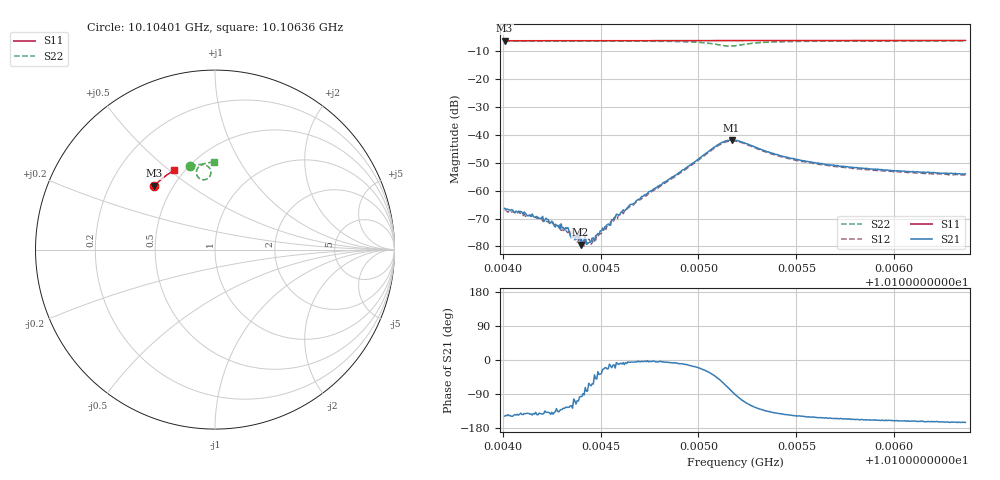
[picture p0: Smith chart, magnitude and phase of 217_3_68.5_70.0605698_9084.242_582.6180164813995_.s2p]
#  HZ  S  RI  R  50.00
! Rohde & Schwarz Vector Network Analyzer
! Rohde-Schwarz,ZNB20-2Port,1311601062101988,3.16
! Created: UTC 3/20/2024, 5:13:24 PM
! freq[Hz]  re:S11  im:S11  re:S21  im:S21  re:S12  im:S12  re:S22  im:S22
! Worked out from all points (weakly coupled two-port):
!   401 points, 10.10401 GHz to 10.10636 GHz, reference 50 ohm
!   highest |S21| = -41.79 dB at 10.10517 GHz (marker M1); lowest = -79.4 dB at 10.1044 GHz (marker M2)
!   lowest |S11| = -6.2 dB at 10.10401 GHz (marker M3), VSWR 2.93, Z = 19.8 + j18.5 ohm
!   |S11| at or under -10 dB: nowhere
!   |S22| runs from -8.1 to -6.2 dB; largest |S21 - S12| = 0.00085
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1.010401e10  -0.3385 0.3553  -0.000411 -0.000254  -0.000355 -0.000275  -0.1371 0.4631
1.0104139e10  -0.3329 0.3609  -0.000295 -0.000223  -0.000265 -0.000239  -0.1284 0.4661
1.0104228e10  -0.3293 0.3648  -0.000227 -0.000205  -0.000214 -0.000177  -0.122 0.4678
1.0104281e10  -0.3269 0.3671  -0.000169 -0.000166  -0.000161 -0.000181  -0.1181 0.4687
1.0104322e10  -0.3252 0.3687  -0.000123 -0.00018  -0.000106 -0.000167  -0.115 0.4696
1.0104357e10  -0.3235 0.3703  -8.85e-05 -0.000117  -8.68e-05 -0.00017  -0.1123 0.4702
1.0104381e10  -0.3225 0.3713  -4.91e-05 -0.000157  -4.34e-05 -0.000111  -0.1105 0.4706
1.0104398e10  -0.3217 0.3721  -1.21e-05 -0.000107  -2.5e-05 -0.000119  -0.1091 0.471
1.0104404e10  -0.3213 0.3722  -1.45e-05 -0.000127  -1.99e-05 -0.00014  -0.1086 0.471
1.0104439e10  -0.3197 0.3738  5.55e-05 -0.000104  5.1e-05 -0.000133  -0.1059 0.4718
1.0104463e10  -0.3189 0.3748  6.36e-05 -0.000127  0.000104 -8.65e-05  -0.104 0.4721
1.0104563e10  -0.3144 0.3789  0.000289 -7.22e-05  0.000275 -2.62e-05  -0.0954 0.4736
1.0104651e10  -0.3102 0.3824  0.000562 -5.48e-05  0.000524 -8.82e-06  -0.0871 0.4745
1.0104798e10  -0.3035 0.3882  0.00122 -0.000101  0.00117 1.65e-05  -0.0703 0.4748
1.0104986e10  -0.2944 0.3955  0.00323 -0.00108  0.00317 -0.00071  -0.0379 0.462
1.0105104e10  -0.2888 0.3997  0.00436 -0.00525  0.00463 -0.00461  -0.0261 0.4138
1.0105169e10  -0.2859 0.4018  0.00113 -0.00806  0.00184 -0.00762  -0.0645 0.389
1.0105186e10  -0.2851 0.4025  -9.47e-05 -0.00805  0.000655 -0.00777  -0.0776 0.3914
1.0105392e10  -0.2756 0.4104  -0.00343 -0.00293  -0.00303 -0.00312  -0.0923 0.4593
1.0105581e10  -0.2663 0.4171  -0.00285 -0.00157  -0.00258 -0.00176  -0.0703 0.4748
1.0105975e10  -0.2464 0.4302  -0.00215 -0.000811  -0.00201 -0.000965  -0.0362 0.4842
1.0106363e10  -0.226 0.4422  -0.00194 -0.00053  -0.00178 -0.000665  -0.00811 0.4876
